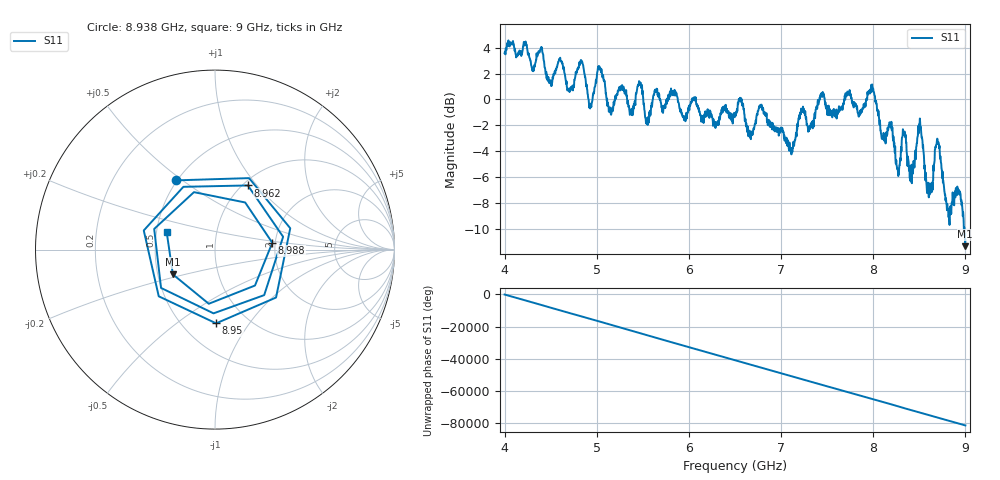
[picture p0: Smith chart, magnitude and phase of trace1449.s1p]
! Created with skrf 1.8.0 (http://scikit-rf.org).
# Hz S RI R 50.0
!freq ReS11 ImS11
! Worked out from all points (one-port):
!   1601 points, 4 GHz to 9 GHz, reference 50 ohm
!   lowest |S11| = -11.3 dB at 8.997 GHz (marker M1), VSWR 1.75, Z = 30 - j8.94 ohm
!   |S11| at or under -10 dB: 8.983523 GHz to 8.985855 GHz (2.332 MHz wide, 0.026 % of centre); 8.988698 GHz to end of sweep
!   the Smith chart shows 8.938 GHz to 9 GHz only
!   S11 on the Smith chart (normalised r, x): 8.938 GHz: 0.49, +0.47; 8.95 GHz: 0.72, -0.71; 8.962 GHz: 1.06, +0.90; 8.988 GHz: 1.93, +0.16; 9 GHz: 0.57, +0.12
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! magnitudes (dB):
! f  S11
! 4 GHz  3.6
! 4.625 GHz  2.8
! 4.706 GHz  0.8
! 4.838 GHz  2.9
! 4.931 GHz  -0.4
! 5.028 GHz  2.6
! 5.15 GHz  -1.0
! 5.25 GHz  0.9
! 5.466 GHz  1.2
! 5.547 GHz  -1.9
! 5.875 GHz  0.2
! 6.5 GHz  -1.2
! 7.125 GHz  -3.7
! 7.231 GHz  -0.7
! 7.75 GHz  0.3
! 7.994 GHz  0.6
! 8.266 GHz  -5.4
! 8.375 GHz  -4.4
! 8.506 GHz  -1.5
! 8.606 GHz  -7.2
! 8.694 GHz  -3.0
! 8.809 GHz  -8.5
! 8.938 GHz  -7.1
! 8.95 GHz  -7.7
! 8.962 GHz  -7.9
! 8.988 GHz  -9.9
! 8.997 GHz  -11.3
! 9 GHz  -10.9
